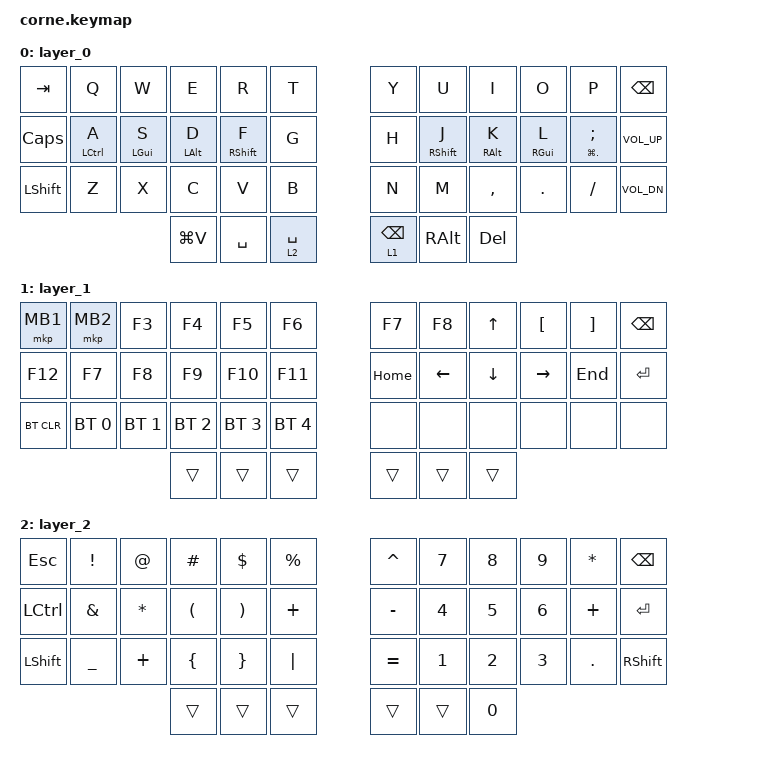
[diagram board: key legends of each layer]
#include <behaviors.dtsi>
#include <dt-bindings/zmk/keys.h>
#include <dt-bindings/zmk/bt.h>
#include <dt-bindings/zmk/outputs.h>
#include <dt-bindings/zmk/pointing.h>

/ {
    // [1] 콤보 설정 (클립보드, 이모지 콤보도 보험으로 유지)
    combos {
        compatible = "zmk,combos";
        combo_dqt { bindings = <&kp DQT>; key-positions = <17 18>; timeout-ms = <50>; };
        combo_caps_word { bindings = <&caps_word>; key-positions = <1 2>; timeout-ms = <50>; };
        combo_enter { bindings = <&kp ENTER>; key-positions = <19 20>; timeout-ms = <50>; };
        combo_del_word { bindings = <&kp LC(BSPC)>; key-positions = <9 10>; timeout-ms = <50>; };
        
        copy { bindings = <&kp LC(C)>; key-positions = <26 27>; timeout-ms = <50>; };
        paste { bindings = <&kp LC(V)>; key-positions = <27 28>; timeout-ms = <50>; };
    };

    // [2] 특수 동작 설정 (HRM 및 새끼손가락 이모지 전용)
    behaviors {
        hml: hml {
            compatible = "zmk,behavior-hold-tap";
            label = "HML";
            #binding-cells = <2>;
            tapping-term-ms = <200>;
            quick-tap-ms = <150>;
            flavor = "tap-preferred";
            bindings = <&kp>, <&kp>;
            hold-trigger-key-positions = <6 7 8 9 10 11 18 19 20 21 22 23 30 31 32 33 34 35 39 40 41>;
        };
        hmr: hmr {
            compatible = "zmk,behavior-hold-tap";
            label = "HMR";
            #binding-cells = <2>;
            tapping-term-ms = <200>;
            quick-tap-ms = <150>;
            flavor = "tap-preferred";
            bindings = <&kp>, <&kp>;
            hold-trigger-key-positions = <0 1 2 3 4 5 12 13 14 15 16 17 24 25 26 27 28 29 36 37 38>;
        };
        // 새끼손가락 전용: 탭하면 세미콜론(;), 꾹 누르면 이모지(Win+.)
        emj: emj {
            compatible = "zmk,behavior-hold-tap";
            label = "EMOJI_HT";
            #binding-cells = <2>;
            tapping-term-ms = <200>;
            quick-tap-ms = <150>;
            flavor = "tap-preferred";
            bindings = <&kp>, <&kp>;
        };
    };

    keymap {
        compatible = "zmk,keymap";

        layer_0 {
            bindings = <
&kp TAB    &kp Q           &kp W           &kp E        &kp R           &kp T          &kp Y        &kp U        &kp I        &kp O           &kp P           &kp BSPC
&kp CAPS   &hml LCTRL A    &hml LGUI S     &hml LALT D  &hml RSHFT F    &kp G          &kp H        &hmr RSHFT J &hmr RALT K  &hmr RGUI L     &emj LG(DOT) SEMI &kp K_VOL_UP
&kp LSHFT  &kp Z           &kp X           &kp C        &kp V           &kp B          &kp N        &kp M        &kp COMMA    &kp DOT         &kp FSLH        &kp K_VOL_DN
                                           &kp LG(V)    &kp SPACE       &lt 2 SPACE    &lt 1 BSPC   &kp RALT     &kp DEL
            >;
        };

        layer_1 {
            bindings = <
&mkp MB1    &mkp MB2     &kp F3       &kp F4       &kp F5       &kp F6         &kp F7      &kp F8      &kp UP     &kp LBKT     &kp RBKT     &kp BSPC
&kp F12     &kp F7       &kp F8       &kp F9       &kp F10      &kp F11        &kp HOME    &kp LEFT    &kp DOWN   &kp RIGHT    &kp END      &kp ENTER
&bt BT_CLR  &bt BT_SEL 0 &bt BT_SEL 1 &bt BT_SEL 2 &bt BT_SEL 3 &bt BT_SEL 4  &none       &none       &none       &none       &none        &none
                                      &trans       &trans       &trans         &trans      &trans      &trans
            >;
        };

        layer_2 {
            bindings = <
&kp ESC     &kp EXCL  &kp AT    &kp HASH     &kp DLLR     &kp PRCNT      &kp CARET   &kp N7      &kp N8       &kp N9       &kp ASTRK   &kp BSPC
&kp LCTRL   &kp AMPS  &kp ASTRK &kp LPAR     &kp RPAR     &kp PLUS       &kp MINUS   &kp N4      &kp N5       &kp N6       &kp PLUS    &kp ENTER
&kp LSHFT   &kp UNDER &kp PLUS  &kp LBRC     &kp RBRC     &kp PIPE       &kp EQUAL   &kp N1      &kp N2       &kp N3       &kp DOT     &kp RSHFT
                                &trans       &trans       &trans         &trans      &trans      &kp N0
            >;
        };
    };
};
